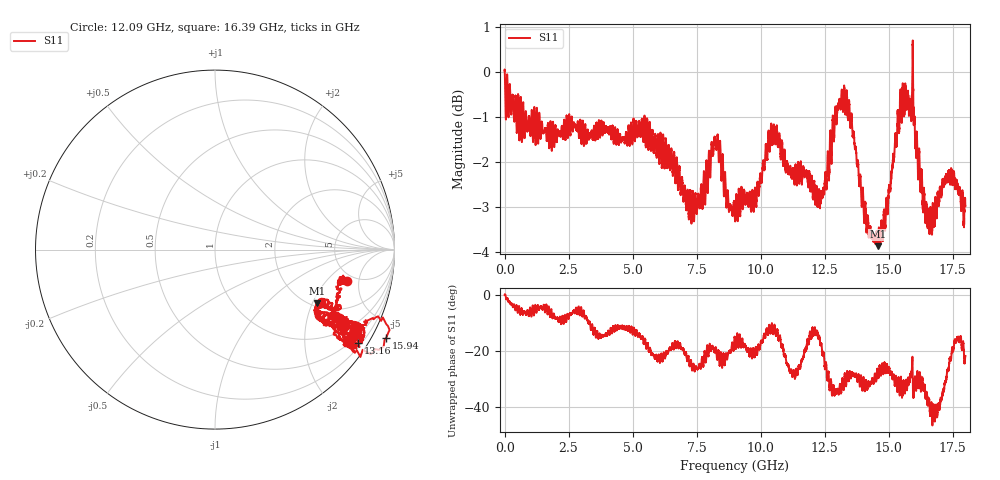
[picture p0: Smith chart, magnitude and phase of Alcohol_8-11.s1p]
!Keysight Technologies N9917A: A.12.46
!Date: Wednesday, 08 November 2023 22:15:02
!TimeZone: (UTC-03:00) Buenos Aires!Model: N9917A
!Serial: MY56072049
!GPS Latitude:
!GPS Longitude:
!GPS TimeStamp: 0001-01-01 00:00:00Z
!GPS Seconds Since Last Read: 0
!CHECKSUM:1445532803
!Correction: S11(ON U)
!S1P File: Measurement: S11:
# Hz S RI R 50
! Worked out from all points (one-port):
!   10001 points, 30 kHz to 18 GHz, reference 50 ohm
!   lowest |S11| = -3.9 dB at 14.58 GHz (marker M1), VSWR 4.56, Z = 106 - j108 ohm
!   |S11| at or under -10 dB: nowhere
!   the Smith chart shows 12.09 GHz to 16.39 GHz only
!   S11 on the Smith chart (normalised r, x): 12.09 GHz: 4.30, -3.48; 13.16 GHz: 0.30, -3.34; 15.94 GHz: -0.62, -4.04; 16.39 GHz: 1.48, -2.63
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30000  1.003 0.000511
2.250026e9  0.8559 -0.1176
2.939425e9  0.8645 -0.1075
3.731424e9  0.8195 -0.2122
4.500022e9  0.8349 -0.1641
5.92202e9  0.7573 -0.2997
6.750019e9  0.7395 -0.2215
7.461018e9  0.6549 -0.3167
8.157616e9  0.7766 -0.2611
8.452816e9  0.7325 -0.2742
9.000015e9  0.6605 -0.1826
9.786614e9  0.6922 -0.2621
1.047241e10  0.8133 -0.1763
1.125001e10  0.6696 -0.3715
1.209061e10  0.7362 -0.173
1.286641e10  0.6928 -0.4693
1.316341e10  0.7977 -0.5193
1.350001e10  0.7715 -0.4076
1.411021e10  0.6069 -0.3565
1.458001e10  0.5663 -0.2989
1.55016e10  0.7493 -0.4742
1.575e10  0.8145 -0.4745
1.59408e10  0.9542 -0.4904
1.63854e10  0.62 -0.4021
1.6686e10  0.515 -0.4393
1.6965e10  0.5492 -0.4515
1.76508e10  0.7255 -0.21
1.8e10  0.6591 -0.2624
